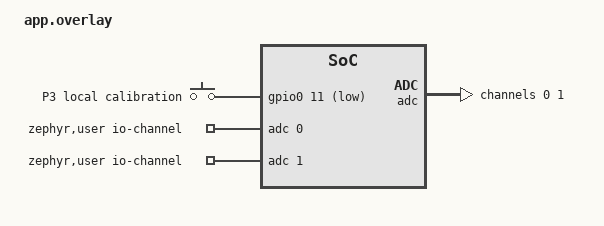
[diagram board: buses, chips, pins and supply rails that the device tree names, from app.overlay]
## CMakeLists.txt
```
#
# Copyright (c) 2024 Nordic Semiconductor ASA
#
# SPDX-License-Identifier: LicenseRef-Nordic-5-Clause
#

cmake_minimum_required(VERSION 3.20.0)

find_package(Zephyr REQUIRED HINTS $ENV{ZEPHYR_BASE})

project("Zigbee application template")

# NORDIC SDK APP START
target_sources(app PRIVATE
  src/main.c
  src/tuya_frame.c
  src/tuya_motor.c
  src/tuya_motor_state.c
  src/p3_soft_uart.c
  src/p3_session_diag.c
  src/p3_power_diag.c
  src/tuya_uart_hybrid.c
)

target_include_directories(app PRIVATE include)
# NORDIC SDK APP END
```

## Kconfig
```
# P3 motor feature flags. All potentially dangerous actions OFF by default.
mainmenu "nice!nano Tuya P3 Zigbee blind"
source "Kconfig.zephyr"

menu "P3 prototype features"

config P3_UART_DIAGNOSTIC_OFF
    bool "Bench test: completely disable motor UART peripheral and workers"
    default n
    help
      Spare-board-only current measurement. Excludes UART worker sources
      and replaces motor communication with inert stubs.


config P3_UART_TX_ENABLE
    bool "ENABLE real Tuya P3 motor UART transmission (hardware test only)"
    default n
    help
      WARNING: Allows real motor movement from Zigbee commands.
      Only enable after validating pinout, supply, UART startup and
      safe end-stop behavior on the real P3 installation.
      Disabled by default even when the host tests succeed.

config P3_DIAG_STARTUP_QUERIES
    bool "Send four allowlisted P3 startup diagnostic UART requests ONCE"
    default n
    help
      Diagnostic-only physical UART TX with the movement command path OFF.
      Once after UART RX is ready, sends exactly four previously captured
      classic Tuya zero-data request frames: heartbeat 0x00, product 0x01,
      work mode 0x02, status query 0x08, in that order. No repeats, movement
      commands, target positions, STOP, Wi-Fi status, or Zigbee-triggered
      transmissions are possible in this diagnostic mode. Requires safe
      hardware-level UART 3.3 V, separate supplies, common GND and actual
      P3 TXD -> nRF P0.20 connected only for supervised bench testing.
      Choose this feature WITHOUT P3_UART_TX_ENABLE or P3_MCU_INIT_ENABLE.

config P3_MCU_INIT_ENABLE
    bool "Send captured WBR3 wake initialization (no motor motion)"
    depends on P3_UART_TX_ENABLE
    default n
    help
      Replays verified startup request opcodes after UART RX initialization:
      0x00 heartbeat, 0x01 product, 0x02 mode, 0x08 DP query.
      This does NOT send any motor movement or legacy Wi-Fi state.
      Repeated heartbeat intervals were not measured, so periodic polling
      is NOT implemented. Hardware startup reliability still untested.

config P3_ZCL_POSITION_ENABLE
    bool "Expose DP3 as current lift percentage (physical polarity to verify)"
    default n
    help
      Enables Zigbee CurrentPositionLiftPercentage updates based on DP3.
      Use only after confirming DP3 is a valid 0..100 position.\n      Verify physical open/closed orientation before treating the value as\n      calibrated; reporting is read-only and cannot move the motor.

config P3_POSITION_TARGET_ENABLE
    bool "Enable experimental DP2 percentage setpoint (supervised testing only)"
    depends on P3_UART_TX_ENABLE && P3_ZCL_POSITION_ENABLE
    default n
    help
      Allows Zigbee GoToLiftPercentage to send DP2 target values to P3.
      DP2 target behavior is not yet verified on physical P3 hardware.
      Enable only on the experimental blind, with working STOP and
      a clear path to stop motor movement. Does not calibrate motor limits.

config P3_HW_CALIBRATION_ENABLE
    bool "Enable supervised original P3 hardware limit calibration"
    depends on P3_UART_TX_ENABLE
    default n
    help
      Allows three captured Tuya commands: DP107=0 reset motor limits,
      DP102=0 start automatic ascent, DP102=1 stop and save upper limit.
      Only enable for supervised tests with physical stop/power disconnect
      accessible; resetting physical travel bounds may require re-training.

config P3_ZCL_POSITION_INVERT
    bool "Invert DP3 lift percentage and Zigbee requested setpoint"
    depends on P3_ZCL_POSITION_ENABLE
    default n
    help
      Zigbee Window Covering reports 0 percent as OPEN and 100 as CLOSED.
      Enable if actual DP3 is 0 percent CLOSED and 100 OPEN.

config P3_ZCL_BATTERY_ENABLE
    bool "Map DP13 to Zigbee Power Configuration battery percentage"
    default n
    help
      DP13=40 was observed while the battery displayed 40 percent.
      Separate runtime verification of source and calibration is required.
      Zigbee BatteryPercentageRemaining is half-percent units (40%=80).

endmenu
```

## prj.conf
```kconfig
#
# Zigbee window covering - battery End Device (not router).
# UART0 is reserved for future Tuya P3 bridge at 9600 baud.
#
CONFIG_NCS_SAMPLES_DEFAULTS=y

CONFIG_SERIAL=y
CONFIG_UART_INTERRUPT_DRIVEN=y
CONFIG_GPIO=y
# v42.0-44: internal SAADC VDD and VDDH/5 railway diagnostics.
CONFIG_ADC=y

CONFIG_CONSOLE=n
CONFIG_UART_CONSOLE=n

# v42.0-7: tickless System ON idle while preserving UART and Zigbee.
# CONFIG_PM is unavailable in the generated configuration of this SDK/board.
# Do not require Zephyr device/system PM for the first controlled measurement.
CONFIG_TICKLESS_KERNEL=y
CONFIG_LOG=n
CONFIG_PRINTK=n
CONFIG_BOOT_BANNER=n

CONFIG_HEAP_MEM_POOL_SIZE=2048
CONFIG_MAIN_THREAD_PRIORITY=7
CONFIG_SYSTEM_WORKQUEUE_STACK_SIZE=2048

CONFIG_ZIGBEE_ADD_ON=y
CONFIG_ZIGBEE_APP_UTILS=y
CONFIG_ZIGBEE_ROLE_END_DEVICE=y

# Pair exclusively with the user's Zigbee2MQTT coordinator (channel 11).
CONFIG_ZIGBEE_CHANNEL_SELECTION_MODE_SINGLE=y
CONFIG_ZIGBEE_CHANNEL=11

# No Nordic DK buttons/LEDs on nice!nano.
CONFIG_DK_LIBRARY=n

# Build 34: UART control with provisional DP13 battery percentage reporting.
# Build 35: experimental DP2 position targets enabled on the test blind only.
# v42.0-36: ONLY explicit Zigbee commands via independent UARTE1 TX.
# No TX on boot, no MCU queries, no calibration, no retry.
CONFIG_P3_UART_TX_ENABLE=y
# No automatic service/startup UART traffic.
CONFIG_P3_DIAG_STARTUP_QUERIES=n
CONFIG_P3_MCU_INIT_ENABLE=n
CONFIG_P3_ZCL_POSITION_ENABLE=y
CONFIG_P3_ZCL_POSITION_INVERT=n
CONFIG_P3_ZCL_BATTERY_ENABLE=y

# Supervised experimental test: DP2 target behavior is unverified.
# Restore position commands tested in stable v41.3.
CONFIG_P3_POSITION_TARGET_ENABLE=y

# Build 36 persistent software endpoints in reserved storage partition
CONFIG_FLASH=y
CONFIG_FLASH_MAP=y
CONFIG_NVS=y
CONFIG_SETTINGS=y
CONFIG_SETTINGS_NVS=y

# Build 37: opt-in hardware calibration captured from original WBR3
CONFIG_P3_HW_CALIBRATION_ENABLE=n

# v42.0-17: allow explicit device_deinit() for the one-shot UART test.
CONFIG_DEVICE_DEINIT_SUPPORT=y

# v42.0-19: device PM action API for UART0 suspend/resume experiment.
CONFIG_PM_DEVICE=y
```

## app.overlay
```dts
/*
 * Build 41 experimental local calibration button on P0.11.
 * Verify HW-954 solder-pad mapping before wiring. Never drive this input.
 * Contact (normally open) connects the selected pin to GND only.
 */
#include <zephyr/dt-bindings/gpio/gpio.h>

/ {
    p3_cal_key: p3_calibration_key {
        compatible = "gpio-keys";
        status = "okay";
        calibration_button: calibration_button {
            gpios = <&gpio0 11 (GPIO_PULL_UP | GPIO_ACTIVE_LOW)>;
            label = "P3 local calibration";
        };
    };
    aliases {
        calibration-button = &calibration_button;
    };
};

/* v42.0-16 diagnostic: keep UART0 enabled, but defer its driver init.
 * No device_init() call is made. Do not attach motor or UART wires.
 * Supported only if this Zephyr SDK recognizes zephyr,deferred-init.
 */
&uart0 {
    zephyr,deferred-init;
};

/* v42.0-45: calibrated internal rail measurements only. Do not assume VDDH = BAT+.
 * No external SAADC pins, resistor dividers or battery percentage estimate.
 */
#include <zephyr/dt-bindings/adc/adc.h>
#include <zephyr/dt-bindings/adc/nrf-saadc.h>
/ {
    zephyr,user {
        io-channels = <&adc 0>, <&adc 1>;
    };
};
&adc {
    status = "okay";
    #address-cells = <1>;
    #size-cells = <0>;
    channel@0 {
        reg = <0>;
        zephyr,gain = "ADC_GAIN_1_2";
        zephyr,reference = "ADC_REF_INTERNAL";
        zephyr,acquisition-time = <ADC_ACQ_TIME(ADC_ACQ_TIME_MICROSECONDS, 10)>;
        zephyr,input-positive = <NRF_SAADC_VDDHDIV5>;
        zephyr,resolution = <12>;
    };
    channel@1 {
        reg = <1>;
        zephyr,gain = "ADC_GAIN_1_6";
        zephyr,reference = "ADC_REF_INTERNAL";
        zephyr,acquisition-time = <ADC_ACQ_TIME(ADC_ACQ_TIME_MICROSECONDS, 10)>;
        zephyr,input-positive = <NRF_SAADC_VDD>;
        zephyr,resolution = <12>;
    };
};
```

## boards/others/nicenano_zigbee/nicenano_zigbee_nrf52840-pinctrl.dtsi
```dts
#include <zephyr/dt-bindings/pinctrl/nrf-pinctrl.h>

&pinctrl {
    uart0_default: uart0_default {
        group1 {
            psels = <NRF_PSEL(UART_TX, 0, 20)>,
                    <NRF_PSEL(UART_RX, 0, 17)>;
            bias-pull-up;
        };
    };
    uart0_sleep: uart0_sleep {
        group1 {
            psels = <NRF_PSEL(UART_TX, 0, 20)>,
                    <NRF_PSEL(UART_RX, 0, 17)>;
            low-power-enable;
        };
    };
};
```

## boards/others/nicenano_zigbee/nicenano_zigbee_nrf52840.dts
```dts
/dts-v1/;
#include <nordic/nrf52840_qiaa.dtsi>
#include <zephyr/dt-bindings/gpio/gpio.h>
#include "nicenano_zigbee_nrf52840-pinctrl.dtsi"

/ {
    model = "nice!nano nRF52840 Zigbee prototype";
    compatible = "custom,nicenano-zigbee-nrf52840";

    chosen {
        zephyr,sram = &sram0;
        zephyr,flash = &flash0;
        zephyr,code-partition = &slot0_partition;
        zephyr,ieee802154 = &ieee802154;
        ncs,zigbee-timer = &timer2;
    };

    aliases {
        motor-uart = &uart0;
        status-led = &p3_status_led;
    };

    leds {
        compatible = "gpio-leds";
        /* nice!nano-compatible blue status LED, active-low on P0.15.
         * This is NOT the hardwired battery-charge indicator.
         */
        p3_status_led: status_led_0 {
            gpios = <&gpio0 15 GPIO_ACTIVE_LOW>;
            label = "HW-954 Blue Zigbee Status";
        };
    };
};

/*
 * DIAGNOSTIC FLASH LAYOUT ONLY — NOT VERIFIED AGAINST OUR UF2 BOOTLOADER.
 * Lower and upper bounds checked against Adafruit Bootloader 0.6.0:
 *   src/usb/uf2/uf2cfg.h USER_FLASH_END=0xAD000
 *   linker/nrf52840.ld bootloader start=0xF4000
 * Actual HW-954 ROM/UICR contents and vector handoff remain unverified.
 *
 *   0x00000-0x25fff  Existing S140 / reserved region
 *   0x26000-0xacfff  UF2-writeable application (Adafruit 0.6.0)
 *   0xad000-0xecfff  UF2 application guard (no firmware writes)
 *   0xed000-0xf3fff  7 preserved pages (28 KiB) in v0.6.0 DFU
 *   0xed000-0xf0fff  ZBOSS NVRAM (16 KiB)
 *   0xf1000-0xf1fff  ZBOSS production config
 *   0xf2000-0xf3fff  Zephyr settings storage (8 KiB)
 *   0xf4000-0xfffff  UF2 bootloader / reserved region
 *
 * Do not flash firmware built with this layout until the physical
 * board's bootloader, vector-table offset and memory map are verified.
 */
&flash0 {
    partitions {
        ranges;
        #address-cells = <1>;
        #size-cells = <1>;

        softdevice_partition: partition@0 {
            compatible = "zephyr,mapped-partition";
            label = "reserved-softdevice";
            reg = <0x00000000 0x00026000>;
        };

        slot0_partition: partition@26000 {
            compatible = "zephyr,mapped-partition";
            label = "image-0";
            reg = <0x00026000 0x00087000>;
        };

        /* Adafruit bootloader 0.6.0 explicitly limits APP writes to
         * target addresses strictly below 0xAD000 (uf2cfg.h).
         * DFU_APP_DATA_RESERVED=7*4096 protects 0xED000..0xF4000.
         * Do NOT let a linked firmware grow into this reserved gap.
         */
        uf2_app_guard: partition@ad000 {
            compatible = "zephyr,mapped-partition";
            label = "reserved-uf2-app-guard";
            read-only;
            reg = <0x000ad000 0x00040000>;
        };

        zboss_nvram: partition@ed000 {
            compatible = "zephyr,mapped-partition";
            label = "zboss-nvram";
            reg = <0x000ed000 0x00004000>;
        };

        zboss_product_config: partition@f1000 {
            compatible = "zephyr,mapped-partition";
            label = "zboss-product-config";
            reg = <0x000f1000 0x00001000>;
        };

        storage_partition: partition@f2000 {
            compatible = "zephyr,mapped-partition";
            label = "storage";
            reg = <0x000f2000 0x00002000>;
        };

        uf2_bootloader_partition: partition@f4000 {
            compatible = "zephyr,mapped-partition";
            label = "reserved-uf2-bootloader";
            reg = <0x000f4000 0x0000c000>;
        };
    };
};

&reg0 { status = "okay"; };
&reg1 { regulator-initial-mode = <NRF5X_REG_MODE_DCDC>; };
&gpio0 { status = "okay"; };
&gpio1 { status = "okay"; };
&gpiote { status = "okay"; };

&uart0 {
    compatible = "nordic,nrf-uarte";
    status = "okay";
    current-speed = <9600>;
    pinctrl-0 = <&uart0_default>;
    pinctrl-1 = <&uart0_sleep>;
    pinctrl-names = "default", "sleep";
};

/* v42.0-36: UARTE1 direct-register EasyDMA TX on P0.20.
 * Keep the Zephyr UART1 driver disabled: firmware owns this peripheral.
 */
&uart1 { status = "disabled"; };

&timer2 { status = "okay"; };
&ieee802154 { status = "okay"; };
```

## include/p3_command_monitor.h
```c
/* SPDX-License-Identifier: MIT
 * v42.0-46 passive, in-RAM per-command telemetry.
 * A relevant MCU report is NOT a protocol ACK nor proof of motor movement.
 * Only a fresh DP3 target match constitutes a reported position reached.
 * No UART output, motor retry, calibration or Zigbee traffic originates here.
 */
#ifndef P3_COMMAND_MONITOR_H_
#define P3_COMMAND_MONITOR_H_
#include <stdbool.h>
#include <stdint.h>
#include <stddef.h>

#define P3_CMD_MONITOR_TIMEOUT_MS 180000U
#define P3_CMD_TARGET_TOLERANCE_PERCENT 1U

enum p3_cmd_monitor_kind {
    P3_CMD_KIND_NONE = 0,
    P3_CMD_KIND_OPEN = 1,
    P3_CMD_KIND_STOP = 2,
    P3_CMD_KIND_CLOSE = 3,
    P3_CMD_KIND_POSITION = 4,
};

enum p3_cmd_monitor_result {
    P3_CMD_RESULT_NONE = 0,
    P3_CMD_RESULT_TARGET_REPORTED = 1,
    P3_CMD_RESULT_STOP_REPORTED = 2,
    P3_CMD_RESULT_TIMEOUT_NO_REPORT = 3,
    P3_CMD_RESULT_TIMEOUT_NO_TARGET = 4,
    P3_CMD_RESULT_SUPERSEDED = 5,
    P3_CMD_RESULT_TX_FAILED = 6,
};

struct p3_command_monitor {
    uint32_t queue_accepted;
    uint32_t tx_success;
    uint32_t tx_failed;
    uint32_t mcu_report_after_tx;
    uint32_t position_reached_reported;
    uint32_t stop_reported;
    uint32_t timed_out_no_report;
    uint32_t timed_out_no_target;
    uint32_t superseded;
    uint32_t last_sent_ms;
    uint32_t last_report_delay_ms;
    uint32_t last_result_ms;
    uint32_t since_ms;
    uint8_t last_kind;
    uint8_t last_target;
    uint8_t last_result;
    uint8_t pending_kind;
    uint8_t pending_target;
    bool pending;
    bool report_seen;
};

static inline bool p3_cmd_monitor_target_match(uint8_t target, uint8_t pos)
{
    if (target > 100U || pos > 100U) return false;
    const uint8_t diff = pos > target ? pos - target : target - pos;
    return diff <= P3_CMD_TARGET_TOLERANCE_PERCENT;
}

static inline void p3_cmd_monitor_expire(struct p3_command_monitor *m,
                                         uint32_t now)
{
    if (!m || !m->pending ||
        (uint32_t)(now - m->since_ms) < P3_CMD_MONITOR_TIMEOUT_MS) return;
    if (m->report_seen) {
        m->timed_out_no_target++;
        m->last_result = P3_CMD_RESULT_TIMEOUT_NO_TARGET;
    } else {
        m->timed_out_no_report++;
        m->last_result = P3_CMD_RESULT_TIMEOUT_NO_REPORT;
    }
    m->last_result_ms = now;
    m->pending = false;
}

static inline void p3_cmd_monitor_tx_completed(
    struct p3_command_monitor *m, uint8_t kind, uint8_t target,
    bool sent, uint32_t now)
{
    if (!m || kind == P3_CMD_KIND_NONE ||
        kind > P3_CMD_KIND_POSITION) return;
    p3_cmd_monitor_expire(m, now);
    if (!sent) {
        m->tx_failed++;
        m->last_result = P3_CMD_RESULT_TX_FAILED;
        m->last_result_ms = now;
        return;
    }
    m->tx_success++;
    if (m->pending) {
        m->superseded++;
        m->last_result = P3_CMD_RESULT_SUPERSEDED;
        m->last_result_ms = now;
    }
    m->pending = true;
    m->report_seen = false;
    m->since_ms = now;
    m->last_sent_ms = now;
    m->last_kind = kind;
    m->last_target = kind == P3_CMD_KIND_STOP ? 255U : target;
    m->pending_kind = kind;
    m->pending_target = target;
    m->last_report_delay_ms = UINT32_MAX;
    m->last_result = P3_CMD_RESULT_NONE;
}

/* Called ONLY for an accepted classic, parsed MCU report (cmd 0x07).
 * DP1/DP3 presence is validated by the caller, never stale cached state.
 */
static inline void p3_cmd_monitor_mcu_report(
    struct p3_command_monitor *m,
    bool has_dp1, uint8_t dp1,
    bool has_dp3, uint8_t dp3, uint32_t now)
{
    if (!m) return;
    p3_cmd_monitor_expire(m, now);
    if (!m->pending) return;
    if (!has_dp1 && !has_dp3) return;
    if (!m->report_seen) {
        m->mcu_report_after_tx++;
        m->report_seen = true;
        m->last_report_delay_ms = (uint32_t)(now - m->since_ms);
    }
    if (m->pending_kind == P3_CMD_KIND_STOP) {
        if (has_dp1 && dp1 == 1U) {
            m->stop_reported++;
            m->last_result = P3_CMD_RESULT_STOP_REPORTED;
            m->last_result_ms = now;
            m->pending = false;
        }
    } else if (has_dp3 &&
               p3_cmd_monitor_target_match(m->pending_target, dp3)) {
        m->position_reached_reported++;
        m->last_result = P3_CMD_RESULT_TARGET_REPORTED;
        m->last_result_ms = now;
        m->pending = false;
    }
}
#endif /* P3_COMMAND_MONITOR_H_ */
```

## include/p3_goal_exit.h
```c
/* SPDX-License-Identifier: MIT
 * v42.0-49: bounded, event-driven RX exit after a validated target report.
 * No motor command or timer peripheral is touched by this pure policy.
 */
#pragma once
#include <stdbool.h>
#include <stdint.h>

/* First bench threshold. Physical timing/power still requires HW-954 tests. */
#define P3_HW_RX_GOAL_SILENCE_MS 3000U

static inline bool p3_goal_silence_due(bool fresh_target_report,
                                      uint32_t last_rx_byte_age_ms,
                                      bool rx_ring_drained)
{
    return fresh_target_report &&
           rx_ring_drained &&
           last_rx_byte_age_ms >= P3_HW_RX_GOAL_SILENCE_MS;
}
```

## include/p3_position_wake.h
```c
/* SPDX-License-Identifier: MIT
 * v42.0-45: pure, wrap-safe position evidence for a NEW motion episode.
 * Only validated, changed MCU DP3 may be passed here. No UART side effects.
 */
#pragma once
#include <stdint.h>
#include <stdbool.h>
#include <stddef.h>

#define P3_POSITION_WAKE_QUIET_MS 10000U

struct p3_position_wake_state {
    bool initialized;
    uint8_t last_position;
    uint32_t last_change_ms;
};

/* Returns true only on a changed position after at least QUIET_MS without
 * another position change. The first observation initializes the baseline.
 * Caller separately requires watchdog lockout and a once-per-episode latch.
 */
static inline bool p3_position_wake_fresh_episode(
    struct p3_position_wake_state *state, uint8_t position, uint32_t now_ms)
{
    if (state == NULL || position > 100U) {
        return false;
    }
    if (!state->initialized) {
        state->initialized = true;
        state->last_position = position;
        state->last_change_ms = now_ms;
        return false;
    }
    if (position == state->last_position) {
        return false;
    }
    const bool quiet = (uint32_t)(now_ms - state->last_change_ms) >=
                       P3_POSITION_WAKE_QUIET_MS;
    state->last_position = position;
    state->last_change_ms = now_ms;
    return quiet;
}
```

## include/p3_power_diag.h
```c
/* SPDX-License-Identifier: MIT
 * v42.0-44: diagnostic INTERNAL power rails, NOT validated BAT+.
 */
#pragma once
#include <stdint.h>

uint32_t p3_power_diag_vddh_mv(void); /* VDDH via VDDH/5, NOT proven battery */
uint32_t p3_power_diag_vddh_calibrated_mv(void); /* estimate HW-954 input, NOT BAT+ */
uint32_t p3_power_diag_vdd_mv(void);  /* SoC VDD rail */
uint32_t p3_power_diag_valid_mask(void); /* bit0=VDDH bit1=VDD */
uint32_t p3_power_diag_samples(void);
uint32_t p3_power_diag_last_ms(void);
uint32_t p3_power_diag_last_error(void);
```

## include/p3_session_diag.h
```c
/* SPDX-License-Identifier: MIT
 * v42.0-48: read-only per-session UARTE0 RX observability.
 * No motor commands, watchdog actions or mode-switch decisions here.
 */
#pragma once
#include <stdbool.h>
#include <stdint.h>

/* Values are stable for Zigbee2MQTT; 0 means unknown/not set. */
enum p3_session_exit_reason {
    P3_SESSION_EXIT_NONE = 0,
    P3_SESSION_EXIT_STOP_GUARD = 1,
    P3_SESSION_EXIT_WATCHDOG = 2,
    P3_SESSION_EXIT_OTHER = 3,
    P3_SESSION_EXIT_SHUTDOWN = 4,
    P3_SESSION_EXIT_GOAL_SILENCE = 5
};

struct p3_session_snapshot {
    uint32_t id;              /* most recent completed hardware RX session */
    uint32_t bytes;           /* copied from RXD.AMOUNT; includes bytes later dropped */
    uint32_t valid_frames;    /* parser-valid Tuya frames processed for session */
    uint32_t stop_seen;       /* fresh, accepted MCU DP1=STOP (0/1) */
    uint32_t goal_seen;       /* fresh, accepted MCU DP3 == transmitted target */
    uint32_t target;          /* 0..100, or 255 if no successful movement TX */
    uint32_t last_dp3;        /* 0..100, or 255 if none */
    uint32_t silence_ms;      /* elapsed since last observed UARTE RXDRDY at exit */
    uint32_t reason;          /* enum p3_session_exit_reason */
    uint32_t active_id;       /* currently running session, 0 if none */
    uint32_t total_sessions;
    uint32_t stop_guard_exits;
    uint32_t watchdog_exits;
    uint32_t watchdog_goal_no_stop; /* key v42.0-48 control population */
    uint32_t goal_silence_exits;    /* v42.0-49 goal+quiet instead of watchdog */
};

/* Calls from RX owner thread, except note_tx_target from TX worker. */
void p3_session_diag_begin(void);
void p3_session_diag_note_dma_bytes(uint32_t count);
void p3_session_diag_note_valid_frame(void);
void p3_session_diag_note_mcu_report(bool fresh_stop, bool dp3_valid, uint8_t dp3);
void p3_session_diag_note_tx_target(uint8_t target);
/* Queue acceptance invalidates old target confirmation before the new TX. */
void p3_session_diag_cancel_goal(void);
/* True only for a live session with a fresh parser-accepted target DP3.
 * A later different DP3 or newer TX target cancels readiness.
 */
bool p3_session_diag_goal_ready(void);
void p3_session_diag_end(enum p3_session_exit_reason reason, uint32_t silence_ms);
void p3_session_diag_publish_pending(void);
void p3_session_diag_get(struct p3_session_snapshot *out);
```

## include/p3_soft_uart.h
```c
/* SPDX-License-Identifier: MIT */
#pragma once
#include <zephyr/kernel.h>
#include <stdint.h>
int p3_soft_uart_start(void);
void p3_soft_uart_stop(void);
int p3_soft_uart_read(uint8_t *byte, k_timeout_t timeout);
/* v42.0-48 experimental edge-to-TIMER PPI diagnostics. */
uint32_t p3_soft_uart_ppi_enabled(void);
uint32_t p3_soft_uart_ppi_starts(void);
uint32_t p3_soft_uart_ppi_fallbacks(void);
uint32_t p3_soft_uart_ppi_late_irqs(void);
uint32_t p3_soft_uart_framing_errors(void);
uint32_t p3_soft_uart_overflows(void);
uint32_t p3_soft_uart_starts(void);
/* v42.0-34 hybrid software-first-byte / UARTE EasyDMA diagnostics. */
uint32_t p3_soft_uart_uarte_wakes(void);
uint32_t p3_soft_uart_dma_bytes(void);
uint32_t p3_soft_uart_handoff_errors(void);
uint32_t p3_soft_uart_hardware_errors(void);
/* v42.0-39, diagnostics only; no RX behavior/timing changes. */
uint32_t p3_soft_uart_software_nonheader_bytes(void);
uint32_t p3_soft_uart_last_hw_errorsrc(void);

/* v42.0-40 passive RX classification; DP1 supplied only from MCU reports. */
/* v42.0-42: request full UARTE0 RX for the next motor movement.
 * Only the RX owner thread applies the mode switch.
 */
void p3_soft_uart_request_motor_rx(void);
bool p3_soft_uart_direct_rx_active(void);
void p3_soft_uart_note_prearm_timeout(void);
void p3_soft_uart_set_mcu_motion(uint8_t dp1);
uint32_t p3_soft_uart_reported_motion(void);
uint32_t p3_soft_uart_gpio_start_events(void);
uint32_t p3_soft_uart_last_gpio_start_ms(void);
uint32_t p3_soft_uart_gpio_starts_reported_idle(void);
uint32_t p3_soft_uart_gpio_starts_reported_moving(void);
uint32_t p3_soft_uart_gpio_starts_motion_unknown(void);
uint32_t p3_soft_uart_bad_stop_gpio(void);
uint32_t p3_soft_uart_bad_stop_chained(void);
uint32_t p3_soft_uart_bad_stop_reported_idle(void);
uint32_t p3_soft_uart_bad_stop_reported_moving(void);
uint32_t p3_soft_uart_bad_stop_motion_unknown(void);
uint32_t p3_soft_uart_last_bad_stop_ms(void);
uint32_t p3_soft_uart_last_bad_stop_byte(void);

/* v42.0-41: error-only diagnostics, read on the Zigbee task. */
uint32_t p3_soft_uart_bad_stop_gpio_last_ms(void);
uint32_t p3_soft_uart_bad_stop_chained_last_ms(void);
uint32_t p3_soft_uart_handoff_unprepared(void);
uint32_t p3_soft_uart_handoff_rxto_timeout(void);
uint32_t p3_soft_uart_handoff_amount_oversize(void);
uint32_t p3_soft_uart_handoff_no_rxstarted(void);
uint32_t p3_soft_uart_handoff_zero_amount(void);
uint32_t p3_soft_uart_handoff_last_ms(void);
uint32_t p3_soft_uart_handoff_last_reason(void);
uint32_t p3_soft_uart_hw_framing_events(void);
uint32_t p3_soft_uart_hw_overrun_events(void);
uint32_t p3_soft_uart_hw_break_events(void);
uint32_t p3_soft_uart_hw_parity_events(void);
uint32_t p3_soft_uart_hw_last_ms(void);
uint32_t p3_soft_uart_hw_last_amount(void);

/* v42.0-42: exposed to Zigbee2MQTT; counters reset on boot. */
uint32_t p3_soft_uart_hw_direct_active(void);
uint32_t p3_soft_uart_hw_direct_enters(void);
uint32_t p3_soft_uart_hw_direct_exits(void);
uint32_t p3_soft_uart_hw_direct_bytes(void);
uint32_t p3_soft_uart_hw_direct_restarts(void);
uint32_t p3_soft_uart_hw_direct_max_timeouts(void);
uint32_t p3_soft_uart_hw_direct_prearm_timeouts(void);
uint32_t p3_soft_uart_hw_direct_last_switch_ms(void);
uint32_t p3_soft_uart_hw_direct_hw_errors(void);
uint32_t p3_soft_uart_hw_direct_empty_dma(void);
uint32_t p3_soft_uart_hw_direct_rxto_timeouts(void);
/* v42.0-43: absolute watchdog origin and post-timeout MCU re-arm suppression. */
uint32_t p3_soft_uart_hw_direct_session_start_ms(void);
uint32_t p3_soft_uart_hw_direct_motion_lockout(void);

/* v42.0-44: passive idle RX fault diagnostics, no timing/path changes. */
uint32_t p3_soft_uart_idle_fault_episodes(void);
uint32_t p3_soft_uart_bad_stop_post_exit_30s(void);
uint32_t p3_soft_uart_bad_stop_late_or_no_exit(void);
uint32_t p3_soft_uart_last_bad_stop_gpio_age_ms(void);
uint32_t p3_soft_uart_hw_direct_last_exit_ms(void);

/* v42.0-45: new position-based physical movement after watchdog lockout. */
void p3_soft_uart_note_changed_position(uint8_t position);
void p3_soft_uart_note_explicit_motor_command(void);
uint32_t p3_soft_uart_position_wake_count(void);
uint32_t p3_soft_uart_position_wake_suppressed(void);
uint32_t p3_soft_uart_position_wake_last_ms(void);
uint32_t p3_soft_uart_position_wake_latched(void);
```

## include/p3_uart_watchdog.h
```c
/* SPDX-License-Identifier: MIT
 * v42.0-43: pure, host-testable safety predicates for the motor RX mode.
 * The direct RX watchdog must use physical session start time, never the
 * timestamp of repeated MCU DP1=OPEN/CLOSE reports.
 */
#pragma once
#include <stdbool.h>
#include <stdint.h>

/* Unsigned subtraction is intentionally safe across k_uptime_get_32 wrap. */
static inline bool p3_hw_rx_timeout_due(uint32_t now_ms,
                                        uint32_t session_start_ms,
                                        uint32_t limit_ms)
{
    return (uint32_t)(now_ms - session_start_ms) >= limit_ms;
}

static inline bool p3_hw_rx_stop_guard_due(uint32_t now_ms,
                                           uint32_t first_stop_ms,
                                           uint32_t guard_ms)
{
    return first_stop_ms != 0U &&
           (uint32_t)(now_ms - first_stop_ms) >= guard_ms;
}

static inline bool p3_hw_rx_motion_transition(uint8_t old_dp1,
                                               uint8_t new_dp1,
                                               bool motion_lockout)
{
    return new_dp1 <= 2U && new_dp1 != 1U &&
           old_dp1 != new_dp1 && !motion_lockout;
}
```

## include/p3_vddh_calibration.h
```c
/* SPDX-License-Identifier: MIT
 * v42.0-50: ONE-POINT bench calibration of internal VDDH telemetry.
 * User's two meters: 3598 mV on HW-954 power input; SAADC: 3505 mV.
 * This is an estimate of BOARD INPUT voltage, NOT BAT+ voltage.
 * Raw SAADC and standard ZCL BatteryVoltage remain untouched.
 */
#pragma once
#include <stdint.h>

#define P3_VDDH_CAL_REFERENCE_MV 3598U
#define P3_VDDH_CAL_RAW_MV 3505U

static inline uint32_t p3_vddh_input_estimate_mv(uint32_t raw_mv)
{
    /* Integer rounding half-up; never turn unknown zero into a fake voltage.
     * Raw SAADC measurements are limited to <=20000 mV; 32-bit math is safe.
     */
    if (raw_mv == 0U || raw_mv > 20000U) return 0U;
    return (raw_mv * P3_VDDH_CAL_REFERENCE_MV +
            P3_VDDH_CAL_RAW_MV / 2U) / P3_VDDH_CAL_RAW_MV;
}
```

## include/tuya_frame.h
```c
/* SPDX-License-Identifier: MIT */
#ifndef TUYA_FRAME_H_
#define TUYA_FRAME_H_

#include <stdbool.h>
#include <stddef.h>
#include <stdint.h>

/* Bounded parser for both Tuya MCU serial frame families. */
#define TUYA_MAX_DATA 128U
#define TUYA_MAX_FRAME (TUYA_MAX_DATA + 9U)

enum tuya_wire_format {
    TUYA_WIRE_CLASSIC = 0, /* 55 AA ver cmd len_hi len_lo data checksum */
    TUYA_WIRE_ZIGBEE = 2, /* 55 AA 02 seq_hi seq_lo cmd len_hi len_lo data checksum */
};

struct tuya_frame {
    enum tuya_wire_format format;
    uint8_t version;
    uint16_t sequence;
    uint8_t command;
    uint16_t length;
    uint8_t data[TUYA_MAX_DATA];
};

struct tuya_parser {
    uint8_t buffer[TUYA_MAX_FRAME];
    uint16_t used;
    uint16_t expected;
    uint32_t rejected;
};

struct tuya_dp {
    uint8_t id;
    uint8_t type;
    uint16_t length;
    const uint8_t *value;
};

typedef void (*tuya_dp_callback_t)(const struct tuya_dp *dp, void *user);

void tuya_parser_init(struct tuya_parser *parser);
bool tuya_parser_feed(struct tuya_parser *parser, uint8_t value,
                      struct tuya_frame *out);
bool tuya_foreach_report_dp(const struct tuya_frame *frame,
                            tuya_dp_callback_t callback, void *user);
bool tuya_dp_as_uint32(const struct tuya_dp *dp, uint32_t *value);

/* Encoder for host tests/future protocol integration; NOT wired to UART TX. */
size_t tuya_encode(const struct tuya_frame *frame, uint8_t *output,
                   size_t capacity);

#endif
```

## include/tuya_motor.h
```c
/* SPDX-License-Identifier: MIT */
#ifndef TUYA_MOTOR_H_
#define TUYA_MOTOR_H_

#include <stddef.h>
#include <stdint.h>

/* WBR3 -> P3 frames verified from the original motor's UART capture.
 * These functions ONLY encode bytes. They do not transmit anything.
 */
enum tuya_motor_action {
    TUYA_MOTOR_OPEN = 0,
    TUYA_MOTOR_STOP = 1,
    TUYA_MOTOR_CLOSE = 2,
};

/* OPEN/STOP/CLOSE, Tuya Classic protocol, DP1 enum 0/1/2. */
size_t tuya_motor_encode_action(enum tuya_motor_action action,
                                uint8_t *out, size_t capacity);

/* Position setpoint in 0..100, Tuya Classic protocol, DP2 Value type.
 * End-stop orientation is NOT yet confirmed. No transmission is performed.
 */
size_t tuya_motor_encode_position(uint8_t percent,
                                  uint8_t *out, size_t capacity);

/* Hardware calibration protocol captured from original WBR3 UART.
 * 1=reset limits (DP107=0); 2=start automatic training (DP102=0);
 * 3=finish and store upper limit (DP102=1).
 * Encodes only; does not transmit.
 */
size_t tuya_motor_encode_hw_calibration(uint8_t command,
                                       uint8_t *out, size_t capacity);

/* Original WBR3 -> P3 startup requests captured on motor wake.
 * These encoders NEVER send data; transmission stays gated by Kconfig.
 */
enum tuya_motor_request {
    TUYA_MOTOR_HEARTBEAT = 0x00,
    TUYA_MOTOR_PRODUCT_QUERY = 0x01,
    TUYA_MOTOR_WORK_MODE_QUERY = 0x02,
    TUYA_MOTOR_STATE_QUERY = 0x08,
};

size_t tuya_motor_encode_request(enum tuya_motor_request request,
                                 uint8_t *out, size_t capacity);

/* Hard allowlist for one-time Build 31 diagnostic TX. Valid indices 0..3,
 * always seven bytes, no DP or movement commands. Caller MUST NOT send
 * any other encoder's output in this diagnostic mode.
 */
#define TUYA_DIAGNOSTIC_STARTUP_STEPS 4U
size_t tuya_motor_encode_diag_startup_step(size_t index,
                                          uint8_t *out, size_t capacity);

/* Captured WBR3 network status 03 and 04, but neither is transmitted
 * automatically: Wi-Fi "cloud" state must not be invented for Zigbee.
 */
size_t tuya_motor_encode_legacy_network_status(uint8_t status,
                                               uint8_t *out, size_t capacity);

#endif
```

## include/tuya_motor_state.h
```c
/* SPDX-License-Identifier: MIT */
#ifndef TUYA_MOTOR_STATE_H_
#define TUYA_MOTOR_STATE_H_

#include "tuya_frame.h"

#include <stdbool.h>
#include <stdint.h>

/* Values observed from the ORIGINAL Tuya P3 UART, not from estimates. */
#define P3_DP_MOTION 1U
#define P3_DP_TARGET 2U
#define P3_DP_POSITION 3U
#define P3_DP_BATTERY 13U

struct tuya_motor_state {
    uint8_t motion;
    uint8_t position;
    uint8_t battery;
    bool motion_valid;
    bool position_valid;
    bool battery_valid;
    uint32_t report_count;
};

struct tuya_motor_changes {
    bool motion;
    bool position;
    bool battery;
};

/* Accept MCU-originated classic DP reports only (cmd=0x07, ver 0 or 3).
 * Wrong types, invalid lengths, invalid percentages, module-originated
 * commands and malformed multi-DP payloads NEVER change the state.
 */
bool tuya_motor_apply_report(const struct tuya_frame *frame,
                             struct tuya_motor_state *state,
                             struct tuya_motor_changes *changes);

#endif
```

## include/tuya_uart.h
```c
/* SPDX-License-Identifier: MIT */
#ifndef TUYA_UART_H_
#define TUYA_UART_H_

#include "tuya_motor.h"
#include "tuya_motor_state.h"
#include "p3_command_monitor.h"

#include <stdbool.h>
#include <stdint.h>
#include "tuya_frame.h"

/* RX state is available; v42.0-36 enables user-only Zigbee TX via UARTE1.
 * True means accepted into a bounded UART queue, NOT physical completion.
 * Never auto-issue movement on boot or Zigbee network join.
 */
/* v42.0-36: hybrid RX thread publishes received MCU reports. */
void tuya_uart_set_rx_ready(bool ready);
void tuya_uart_note_rx_byte(void);
void tuya_uart_accept_report(const struct tuya_frame *frame);
void tuya_uart_set_rejected_count(uint32_t rejected);
void tuya_uart_mark_zigbee_command(void);
bool tuya_uart_submit_action(enum tuya_motor_action action);
bool tuya_uart_submit_position(uint8_t percent);
bool tuya_uart_submit_hw_calibration(uint8_t command);
void tuya_uart_get_state(struct tuya_motor_state *out);

/* UART RX-only telemetry. No interpretation of DP3/DP13 as calibrated
 * physical lift/battery levels is implied. Values reset on boot.
 */
struct tuya_uart_diagnostics {
    uint32_t rx_bytes;
    uint32_t tx_frames;
    uint32_t zigbee_commands;
    uint32_t local_finish_queued;
    uint32_t local_finish_transmitted;
    uint32_t local_finish_queue_to_tx_ms;
    uint32_t last_zigbee_to_tx_ms;
    uint32_t last_queue_to_tx_ms;
    uint32_t last_uart_tx_ms;
    uint32_t last_rx_after_tx_ms;
    uint32_t valid_frames;
    uint32_t rejected_frames;
    uint32_t dropped_bytes;
    uint32_t accepted_reports;
    uint8_t last_command;
    uint8_t last_format;
    uint8_t rx_ready;
    uint8_t diag_startup_requests_sent; /* 0..4; full 7-byte UART frames */
    struct p3_command_monitor command_monitor;
    uint8_t diag_startup_finished;      /* 1 after one-time attempt ends */
};

void tuya_uart_get_diagnostics(struct tuya_uart_diagnostics *out);
bool tuya_uart_submit_local_finish(void);

#endif
```
